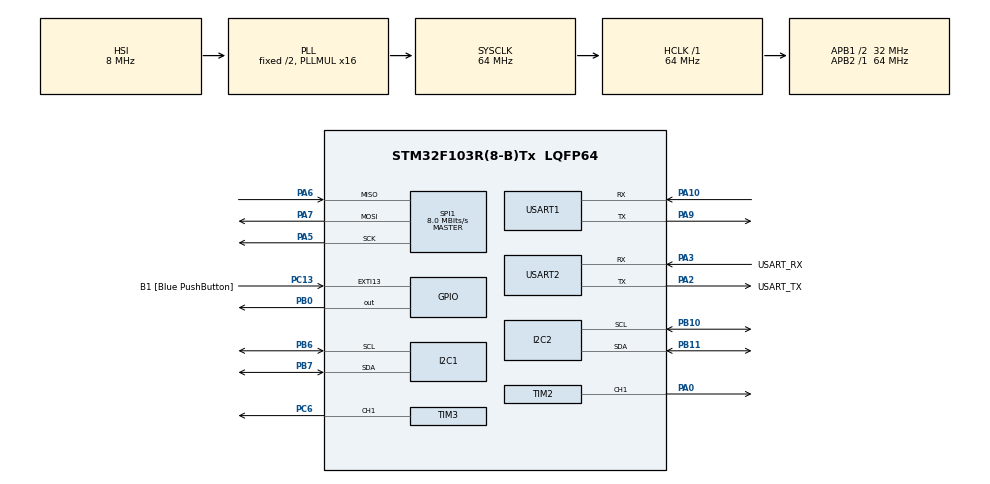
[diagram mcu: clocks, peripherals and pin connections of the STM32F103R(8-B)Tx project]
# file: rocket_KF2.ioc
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FATFS._MAX_SS=4096
FATFS._USE_LFN=1
Mcu.Family=STM32F1
Mcu.Name=STM32F103R(8-B)Tx
Mcu.Package=LQFP64
NVIC.EXTI15_10_IRQn=true\:0\:0\:false\:false\:true\:true\:true\:true
NVIC.I2C1_ER_IRQn=true\:0\:0\:false\:false\:true\:true\:true\:true
NVIC.I2C1_EV_IRQn=true\:0\:0\:false\:false\:true\:true\:true\:true
NVIC.I2C2_ER_IRQn=true\:0\:0\:false\:false\:true\:true\:true\:true
NVIC.I2C2_EV_IRQn=true\:0\:0\:false\:false\:true\:true\:true\:true
NVIC.PriorityGroup=NVIC_PRIORITYGROUP_4
NVIC.TIM2_IRQn=true\:0\:0\:false\:false\:true\:true\:true\:true
NVIC.TIM3_IRQn=true\:0\:0\:false\:false\:true\:true\:true\:true
NVIC.USART1_IRQn=true\:0\:0\:false\:false\:true\:true\:true\:true
NVIC.USART2_IRQn=true\:0\:0\:false\:false\:true\:true\:true\:true
PA0-WKUP.Signal=S_TIM2_CH1_ETR
PA10.Mode=Asynchronous
PA10.Signal=USART1_RX
PA13.GPIO_Label=TMS
PA13.Mode=Serial_Wire
PA13.Signal=SYS_JTMS-SWDIO
PA14.GPIO_Label=TCK
PA14.Mode=Serial_Wire
PA14.Signal=SYS_JTCK-SWCLK
PA2.GPIO_Label=USART_TX
PA2.GPIO_Mode=GPIO_MODE_AF_PP
PA2.GPIO_PuPd=GPIO_NOPULL
PA2.GPIO_Speed=GPIO_SPEED_FREQ_LOW
PA2.Mode=Asynchronous
PA2.Signal=USART2_TX
PA3.GPIO_Label=USART_RX
PA3.GPIO_Mode=GPIO_MODE_AF_PP
PA3.GPIO_PuPd=GPIO_NOPULL
PA3.GPIO_Speed=GPIO_SPEED_FREQ_LOW
PA3.Mode=Asynchronous
PA3.Signal=USART2_RX
PA5.Mode=Full_Duplex_Master
PA5.Signal=SPI1_SCK
PA6.Mode=Full_Duplex_Master
PA6.Signal=SPI1_MISO
PA7.Mode=Full_Duplex_Master
PA7.Signal=SPI1_MOSI
PA9.Mode=Asynchronous
PA9.Signal=USART1_TX
PB0.Signal=GPIO_Output
PB10.Mode=I2C
PB10.Signal=I2C2_SCL
PB11.Mode=I2C
PB11.Signal=I2C2_SDA
PB3.GPIO_Label=SWO
PB3.Signal=SYS_JTDO-TRACESWO
PB6.Mode=I2C
PB6.Signal=I2C1_SCL
PB7.Mode=I2C
PB7.Signal=I2C1_SDA
PC13-TAMPER-RTC.GPIO_Label=B1 [Blue PushButton]
PC13-TAMPER-RTC.GPIO_PuPd=GPIO_NOPULL
PC13-TAMPER-RTC.Signal=GPXTI13
PC14-OSC32_IN.Mode=LSE-External-Oscillator
PC14-OSC32_IN.Signal=RCC_OSC32_IN
PC15-OSC32_OUT.Mode=LSE-External-Oscillator
PC15-OSC32_OUT.Signal=RCC_OSC32_OUT
PC6.Signal=S_TIM3_CH1
PD0-OSC_IN.Mode=HSE-External-Clock-Source
PD0-OSC_IN.Signal=RCC_OSC_IN
PD1-OSC_OUT.Mode=HSE-External-Clock-Source
PD1-OSC_OUT.Signal=RCC_OSC_OUT
ProjectManager.HeapSize=0x200
ProjectManager.StackSize=0x400
ProjectManager.TargetToolchain=STM32CubeIDE
RCC.AHBFreq_Value=64000000
RCC.APB1CLKDivider=RCC_HCLK_DIV2
RCC.APB1Freq_Value=32000000
RCC.APB1TimFreq_Value=64000000
RCC.APB2Freq_Value=64000000
RCC.APB2TimFreq_Value=64000000
RCC.HCLKFreq_Value=64000000
RCC.PLLMUL=RCC_PLL_MUL16
RCC.RTCClockSelection=RCC_RTCCLKSOURCE_LSE
RCC.SYSCLKFreq_VALUE=64000000
RCC.SYSCLKSource=RCC_SYSCLKSOURCE_PLLCLK
RCC.USBFreq_Value=64000000
SH.S_TIM2_CH1_ETR.0=TIM2_CH1,PWM Generation1 CH1
SH.S_TIM3_CH1.0=TIM3_CH1,Output Compare1 CH1
SPI1.BaudRatePrescaler=SPI_BAUDRATEPRESCALER_8
SPI1.CalculateBaudRate=8.0 MBits/s
SPI1.Direction=SPI_DIRECTION_2LINES
SPI1.Mode=SPI_MODE_MASTER
SPI1.VirtualType=VM_MASTER
TIM2.Channel-PWM\ Generation1\ CH1=TIM_CHANNEL_1
TIM2.Period=1000 - 1
TIM2.Prescaler=1280 - 1
TIM3.Channel-Output\ Compare1\ CH1=TIM_CHANNEL_1
TIM3.Period=10000 - 1
TIM3.Prescaler=6400 - 1
USART1.VirtualMode=VM_ASYNC
USART2.VirtualMode=VM_ASYNC
VP_FATFS_VS_Generic.Mode=User_defined
VP_TIM2_VS_ClockSourceINT.Mode=Internal
VP_TIM3_VS_ClockSourceINT.Mode=Internal
board=NUCLEO-F103RB

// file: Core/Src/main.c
/* USER CODE BEGIN Header */
/**
 ******************************************************************************
 * @file           : main.c
 * @brief          : Main program body
 ******************************************************************************
 * @attention
 *
 * Copyright (c) 2023 STMicroelectronics.
 * All rights reserved.
 *
 * This software is licensed under terms that can be found in the LICENSE file
 * in the root directory of this software component.
 * If no LICENSE file comes with this software, it is provided AS-IS.
 *
 ******************************************************************************
 */
/* USER CODE END Header */
#include "main.h"
#include "fatfs.h"

/* USER CODE BEGIN Includes */
#include "stm32f1xx.h"
#include "BMP180.h"
#include "stdio.h"
#include "MPU6050.h"
#include "math.h"
#include "stdint.h"
#include "fatfs_sd.h"
/* USER CODE END Includes */

/* USER CODE BEGIN PD */
#define RAD_TO_DEG 57.29578
#define DEG_TO_RAD 0.017453
#define ALPHA 0.96                          // Complementary Filter alpha value
#define dt 0.00069                       	// check while loop time
#define desiredAngle 45.0
#define beta 0.006981
#define gravityMagnitude 9.81
//#define beta 0.1
/* USER CODE END PD */

I2C_HandleTypeDef hi2c1;
I2C_HandleTypeDef hi2c2;

SPI_HandleTypeDef hspi1;

TIM_HandleTypeDef htim2;
TIM_HandleTypeDef htim3;

UART_HandleTypeDef huart1;
UART_HandleTypeDef huart2;

/* USER CODE BEGIN PV */
float temp, press, altitude;
int second = 0;
float firstAltitude;
int Parachute = 0;
int start = 0;    				//Parachute states
float finalAltitude;

float gyroAngleX = 0.0f, gyroAngleY = 0.0f; 	// pitch(X) and roll(Y) angle (Euler Angle) by gyroscope
float accelAngleX = 0.0f, accelAngleY = 0.0f; 	// pitch(X) and roll(Y) angle (Euler Angle) by AccelerateScope
float compAngleX = 0.0f, compAngleY = 0.0f; 	// Complementary Filter result angle        URL https://blog.naver.com/intheglass14/222777512235 https://yjhtpi.tistory.com/352
float rocketVector[3] = { 0.0f };              // rocket vector(attitude) init
float vectorG[3] = {0.0f, 0.0f, -1.0f};
float z_Unitvector[3] = { 0.0f, 0.0f, 1.0f };   // Z-axis vector
float rocketAngle = 0.0f;    					// result of dot product Rocket Vector with Z-axis

uint32_t startTick, endTick, elapsedTicks, costTime_us; //just check while loop time
int iter = 0;
float prev_state[3]; 					// result of dot product Rocket Vector with Z-axis
float a, b, c = 0.0f;                         	// just acos variables
float SEq_1 = 1.0f, SEq_2 = 0.0f, SEq_3 = 0.0f, SEq_4 = 0.0f; // estimated orientation quaternion elements with initial conditions
float roll, pitch, yaw;

//float realAccelX, realAccelY, realAccelZ;
//float gravityComponentAlongRocket;
//float gravityComponentOnX, gravityComponentOnY, gravityComponentOnZ;

/* USER CODE END PV */

void SystemClock_Config(void);
static void MX_GPIO_Init(void);
static void MX_USART2_UART_Init(void);
static void MX_I2C1_Init(void);
static void MX_I2C2_Init(void);
static void MX_SPI1_Init(void);
static void MX_TIM2_Init(void);
static void MX_USART1_UART_Init(void);
static void MX_TIM3_Init(void);
/* USER CODE BEGIN PFP */
void SysTick_Init(void);               // systick  = like tic toc func in matlab
void SysTick_Delay_us(uint32_t us);
void updateQuaternion(float w_x,float w_y,float w_z,float a_x,float a_y,float a_z);
void setInitialQuaternion(float yaw, float pitch, float roll);
/* USER CODE END PFP */

/* USER CODE BEGIN 0 */

// to use printf
#ifdef __GNUC__
/* With GCC/RAISONANCE, small printf (option LD Linker->Libraries->Small printf
 set to 'Yes') calls __io_putchar() */
#define PUTCHAR_PROTOTYPE int __io_putchar(int ch)
#else
#define PUTCHAR_PROTOTYPE int fputc(int ch, FILE *f)
#endif /* __GNUC__ */

PUTCHAR_PROTOTYPE {
	/* Place your implementation of fputc here */
	/* e.g. write a character to the EVAL_COM1 and Loop until the end of transmission */
	HAL_UART_Transmit(&huart2, (uint8_t*) &ch, 1, 0xFFFF);
	return ch;
}
// use printf

// sdcard part
FATFS fs; // file system
FIL fil;  // File
FILINFO fno;
FRESULT fresult; // result
UINT br, bw;     // File read/write count

/**** capacity related *****/
FATFS *pfs;
DWORD fre_clust;
uint32_t total, free_space;
char str[16]; // Enough to hold all numbers up to 32-bit int
// sdcard part

// mpu6050
RawData_Def myAccelRaw, myGyroRaw;
ScaledData_Def myAccelScaled, myGyroScaled,accAverage;
typedef struct{
	float w, x, y ,z;
}Quaternion;
Quaternion q = {1,0,0,0};

int timeout_start = 0;
/* USER CODE END 0 */

int main(void)
{
  /* USER CODE BEGIN 1 */
	MPU_ConfigTypeDef myMpuConfig;
  /* USER CODE END 1 */

  /* MCU Configuration--------------------------------------------------------*/

  /* Reset of all peripherals, Initializes the Flash interface and the Systick. */
  HAL_Init();

  /* USER CODE BEGIN Init */
  SysTick_Init();
  /* USER CODE END Init */

  /* Configure the system clock */
  SystemClock_Config();

  /* Initialize all configured peripherals */
  MX_GPIO_Init();
  MX_USART2_UART_Init();
  MX_I2C1_Init();
  MX_I2C2_Init();
  MX_SPI1_Init();
  MX_TIM2_Init();
  MX_FATFS_Init();
  MX_USART1_UART_Init();
  MX_TIM3_Init();
  /* USER CODE BEGIN 2 */
	initialBMP180();
	MPU6050_Init(&hi2c1);
	myMpuConfig.Accel_Full_Scale = AFS_SEL_16g; 		// full scale setting
	myMpuConfig.ClockSource = Internal_8MHz;
	myMpuConfig.CONFIG_DLPF = DLPF_184A_188G_Hz;
	myMpuConfig.Gyro_Full_Scale = FS_SEL_500;
	myMpuConfig.Sleep_Mode_Bit = 0;
	MPU6050_Config(&myMpuConfig);
	HAL_TIM_Base_Start(&htim2);
	HAL_TIM_PWM_Start(&htim2, TIM_CHANNEL_1);
	HAL_TIM_Base_Start_IT(&htim3);

	fresult = f_mount(&fs, "/", 1);
	/* Check free space */
	f_getfree("", &fre_clust, &pfs);
	total = (uint32_t) ((pfs->n_fatent - 2) * pfs->csize * 0.5);
	free_space = (uint32_t) (fre_clust * pfs->csize * 0.5);
	/* Open file to write/ create a file if it doesn't exist */
	fresult = f_open(&fil, "file1.txt", FA_OPEN_ALWAYS | FA_READ | FA_WRITE);
	/* Writing text */

  /* USER CODE END 2 */

  /* Infinite loop */
	while (1) {

		/* USER CODE BEGIN 3 */

		temp = readTrueTemp();
		press = readTruePress(0);
		altitude = readTrueAltitude(0);
		MPU6050_Get_Accel_Scale(&myAccelScaled);
		MPU6050_Get_Gyro_Scale(&myGyroScaled);

    // set init state.
		if(start==0&&myAccelScaled.z<=20.0f){
			for(int count=0;count<3;count++){
				accAverage.x=0,accAverage.y=0,accAverage.z=0;
				accAverage.x=+myAccelScaled.x;
				accAverage.y=+myAccelScaled.y;
				accAverage.z=+myAccelScaled.z;
			}
			accAverage.x=accAverage.x/3.0f;
			accAverage.y=accAverage.y/3.0f;
			accAverage.z=accAverage.z/3.0f;		//moving mean filter
			gyroAngleX = atan2f(accAverage.y,		// RAD pitch and roll by acc scope
					sqrtf(accAverage.x * accAverage.x
							+ accAverage.z * accAverage.z));
			gyroAngleY = atan2f(-accAverage.x, 	//-myacc.x to myacc.x
					sqrtf(accAverage.y * accAverage.y
							+ accAverage.z * accAverage.z));
			prev_state[0] = gyroAngleX;
			prev_state[1] = gyroAngleY;
			prev_state[2]=0.0f;
			setInitialQuaternion(prev_state[2], prev_state[1],prev_state[0]);
			firstAltitude = altitude;			// update initial altitude

//			printf("%.2f\r\n",myAccelScaled.z);
//			HAL_Delay(10);
			continue;		//start trigger
		}
		else{
			timeout_start = 1;
			start=1;
		}
		//Rocket launched
//		startTick = SysTick->VAL;
		//kalman filter Part

		updateQuaternion(myGyroScaled.x,myGyroScaled.y,myGyroScaled.z,myAccelScaled.x,myAccelScaled.y,myAccelScaled.z);
//		float SEq_1 = 1.0f, SEq_2 = 0.0f, SEq_3 = 0.0f, SEq_4 = 0.0f;
		rocketVector[0] =  2.0*(SEq_2*SEq_4 - SEq_1*SEq_3); // x축
		rocketVector[1] = 2.0 * (SEq_1 * SEq_2 + SEq_3 * SEq_4); // y component
		rocketVector[2] = 1.0 - 2.0 * (SEq_2 * SEq_2 + SEq_3 * SEq_3); // z component

		a = rocketVector[0] * z_Unitvector[0]
											+ rocketVector[1] * z_Unitvector[1]
																			  + rocketVector[2] * z_Unitvector[2];
		b = sqrt(rocketVector[0] * rocketVector[0]
												  + rocketVector[1] * rocketVector[1]
																					 + rocketVector[2] * rocketVector[2]);
		c = sqrt(z_Unitvector[0] * z_Unitvector[0]
												+ z_Unitvector[1] * z_Unitvector[1]
																				 + z_Unitvector[2] * z_Unitvector[2]);

		rocketAngle = acos(a / (b * c)) * RAD_TO_DEG;                            // inner product(dot product) Rocket vector with Z unit vector

		//Transfer Quaternion to Euler Angle
		roll = atan2f(2.0f * (SEq_1 * SEq_2 + SEq_3 * SEq_4), 1.0f - 2.0f * (SEq_2 * SEq_2 + SEq_3 * SEq_3));
		pitch = asinf(2.0f * (SEq_1 * SEq_3 - SEq_4 * SEq_2));
		yaw = atan2f(2.0f * (SEq_1 * SEq_4 + SEq_2 * SEq_3), 1.0f - 2.0f * (SEq_3 * SEq_3 + SEq_4 * SEq_4));

		// 결과 출력
//		printf("Roll: %.2f degrees\r\n", roll * RAD_TO_DEG);
//		printf("Pitch: %.2f degrees\r\n", pitch * RAD_TO_DEG);
//		printf("Yaw: %.2f degrees\r\n", yaw * RAD_TO_DEG);
//		printf("%f",altitude-firstAltitude);
//		printf(" is real \r\n");

		if (Parachute==0){
			if (altitude-firstAltitude>=390){
				Parachute = 1;
				printf("Altitude\r\n");
				__HAL_TIM_SetCompare(&htim2, TIM_CHANNEL_1, 125);					// deploy parachute
				continue;
			}
			else if (rocketAngle>desiredAngle){
				Parachute = 1;
				printf("desiredAngle30\r\n");
				__HAL_TIM_SetCompare(&htim2, TIM_CHANNEL_1, 125);					// deploy parachute
				continue;
			}
//			else if (second>10){
//				Parachute = 1;
//				printf("Timeout!\r\n");
//
//				continue;
//			}
		}

		finalAltitude = altitude-firstAltitude;

		// sdcard part
		char buffer[100]; // Buffer to hold string
		//timeinfo = *localtime(&rawtime);
		sprintf(buffer,
				"%.2f, %.2f ,%.2f, %.2f, %.2f, %.2f, %.2f, %.2f, %.2f, %.2f\r\n",
				finalAltitude, myGyroScaled.x, myGyroScaled.y, myGyroScaled.z,
				myAccelScaled.x, myAccelScaled.y, myAccelScaled.z,roll,pitch,yaw);	//Altitude GyroXYZ AccelXYZ roll pitch yaw time
		if (fresult == FR_OK) {
			fresult = f_write(&fil, buffer, strlen(buffer), &bw); // Write the string to file
			f_sync(&fil);                    // Ensure data is written and saved
		}

//		if (sqrt(myGyroScaled.x^2+myGyroScaled.y^2+myGyroScaled.z^2)){
//
//		}
//		endTick = SysTick->VAL;             	// tic (check loop time)
////		// SysTick은 다운 카운터이므로 startTick > endTick
//		elapsedTicks = startTick > endTick ? startTick - endTick : startTick + (0xFFFFFF - endTick);
//		costTime_us = (elapsedTicks * 8) / (64000000 / 100000);

//		printf("Time taken: %lu microseconds\n", costTime_us);
//		HAL_Delay(100);

		// sdcard part
	}
	// sdcard part
	if (fresult == FR_OK) {
		fresult = f_close(&fil);
	}
	// sdcard part
  /* USER CODE END 3 */
}

void SystemClock_Config(void)
{
  RCC_OscInitTypeDef RCC_OscInitStruct = {0};
  RCC_ClkInitTypeDef RCC_ClkInitStruct = {0};

  /** Initializes the RCC Oscillators according to the specified parameters
  * in the RCC_OscInitTypeDef structure.
  */
  RCC_OscInitStruct.OscillatorType = RCC_OSCILLATORTYPE_HSI;
  RCC_OscInitStruct.HSIState = RCC_HSI_ON;
  RCC_OscInitStruct.HSICalibrationValue = RCC_HSICALIBRATION_DEFAULT;
  RCC_OscInitStruct.PLL.PLLState = RCC_PLL_ON;
  RCC_OscInitStruct.PLL.PLLSource = RCC_PLLSOURCE_HSI_DIV2;
  RCC_OscInitStruct.PLL.PLLMUL = RCC_PLL_MUL16;
  if (HAL_RCC_OscConfig(&RCC_OscInitStruct) != HAL_OK)
  {
    Error_Handler();
  }

  /** Initializes the CPU, AHB and APB buses clocks
  */
  RCC_ClkInitStruct.ClockType = RCC_CLOCKTYPE_HCLK|RCC_CLOCKTYPE_SYSCLK
                              |RCC_CLOCKTYPE_PCLK1|RCC_CLOCKTYPE_PCLK2;
  RCC_ClkInitStruct.SYSCLKSource = RCC_SYSCLKSOURCE_PLLCLK;
  RCC_ClkInitStruct.AHBCLKDivider = RCC_SYSCLK_DIV1;
  RCC_ClkInitStruct.APB1CLKDivider = RCC_HCLK_DIV2;
  RCC_ClkInitStruct.APB2CLKDivider = RCC_HCLK_DIV1;

  if (HAL_RCC_ClockConfig(&RCC_ClkInitStruct, FLASH_LATENCY_2) != HAL_OK)
  {
    Error_Handler();
  }
}

static void MX_I2C1_Init(void)
{

  hi2c1.Instance = I2C1;
  hi2c1.Init.ClockSpeed = 100000;
  hi2c1.Init.DutyCycle = I2C_DUTYCYCLE_2;
  hi2c1.Init.OwnAddress1 = 0;
  hi2c1.Init.AddressingMode = I2C_ADDRESSINGMODE_7BIT;
  hi2c1.Init.DualAddressMode = I2C_DUALADDRESS_DISABLE;
  hi2c1.Init.OwnAddress2 = 0;
  hi2c1.Init.GeneralCallMode = I2C_GENERALCALL_DISABLE;
  hi2c1.Init.NoStretchMode = I2C_NOSTRETCH_DISABLE;
  if (HAL_I2C_Init(&hi2c1) != HAL_OK)
  {
    Error_Handler();
  }

}

static void MX_I2C2_Init(void)
{

  hi2c2.Instance = I2C2;
  hi2c2.Init.ClockSpeed = 100000;
  hi2c2.Init.DutyCycle = I2C_DUTYCYCLE_2;
  hi2c2.Init.OwnAddress1 = 0;
  hi2c2.Init.AddressingMode = I2C_ADDRESSINGMODE_7BIT;
  hi2c2.Init.DualAddressMode = I2C_DUALADDRESS_DISABLE;
  hi2c2.Init.OwnAddress2 = 0;
  hi2c2.Init.GeneralCallMode = I2C_GENERALCALL_DISABLE;
  hi2c2.Init.NoStretchMode = I2C_NOSTRETCH_DISABLE;
  if (HAL_I2C_Init(&hi2c2) != HAL_OK)
  {
    Error_Handler();
  }

}

static void MX_SPI1_Init(void)
{

  /* SPI1 parameter configuration*/
  hspi1.Instance = SPI1;
  hspi1.Init.Mode = SPI_MODE_MASTER;
  hspi1.Init.Direction = SPI_DIRECTION_2LINES;
  hspi1.Init.DataSize = SPI_DATASIZE_8BIT;
  hspi1.Init.CLKPolarity = SPI_POLARITY_LOW;
  hspi1.Init.CLKPhase = SPI_PHASE_1EDGE;
  hspi1.Init.NSS = SPI_NSS_SOFT;
  hspi1.Init.BaudRatePrescaler = SPI_BAUDRATEPRESCALER_8;
  hspi1.Init.FirstBit = SPI_FIRSTBIT_MSB;
  hspi1.Init.TIMode = SPI_TIMODE_DISABLE;
  hspi1.Init.CRCCalculation = SPI_CRCCALCULATION_DISABLE;
  hspi1.Init.CRCPolynomial = 10;
  if (HAL_SPI_Init(&hspi1) != HAL_OK)
  {
    Error_Handler();
  }

}

static void MX_TIM2_Init(void)
{

  TIM_ClockConfigTypeDef sClockSourceConfig = {0};
  TIM_MasterConfigTypeDef sMasterConfig = {0};
  TIM_OC_InitTypeDef sConfigOC = {0};

  htim2.Instance = TIM2;
  htim2.Init.Prescaler = 1280 - 1;
  htim2.Init.CounterMode = TIM_COUNTERMODE_UP;
  htim2.Init.Period = 1000 - 1;
  htim2.Init.ClockDivision = TIM_CLOCKDIVISION_DIV1;
  htim2.Init.AutoReloadPreload = TIM_AUTORELOAD_PRELOAD_DISABLE;
  if (HAL_TIM_Base_Init(&htim2) != HAL_OK)
  {
    Error_Handler();
  }
  sClockSourceConfig.ClockSource = TIM_CLOCKSOURCE_INTERNAL;
  if (HAL_TIM_ConfigClockSource(&htim2, &sClockSourceConfig) != HAL_OK)
  {
    Error_Handler();
  }
  if (HAL_TIM_PWM_Init(&htim2) != HAL_OK)
  {
    Error_Handler();
  }
  sMasterConfig.MasterOutputTrigger = TIM_TRGO_RESET;
  sMasterConfig.MasterSlaveMode = TIM_MASTERSLAVEMODE_DISABLE;
  if (HAL_TIMEx_MasterConfigSynchronization(&htim2, &sMasterConfig) != HAL_OK)
  {
    Error_Handler();
  }
  sConfigOC.OCMode = TIM_OCMODE_PWM1;
  sConfigOC.Pulse = 0;
  sConfigOC.OCPolarity = TIM_OCPOLARITY_HIGH;
  sConfigOC.OCFastMode = TIM_OCFAST_DISABLE;
  if (HAL_TIM_PWM_ConfigChannel(&htim2, &sConfigOC, TIM_CHANNEL_1) != HAL_OK)
  {
    Error_Handler();
  }
  HAL_TIM_MspPostInit(&htim2);

}

static void MX_TIM3_Init(void)
{

  TIM_ClockConfigTypeDef sClockSourceConfig = {0};
  TIM_MasterConfigTypeDef sMasterConfig = {0};
  TIM_OC_InitTypeDef sConfigOC = {0};

  htim3.Instance = TIM3;
  htim3.Init.Prescaler = 6400 - 1;
  htim3.Init.CounterMode = TIM_COUNTERMODE_UP;
  htim3.Init.Period = 10000 - 1;
  htim3.Init.ClockDivision = TIM_CLOCKDIVISION_DIV1;
  htim3.Init.AutoReloadPreload = TIM_AUTORELOAD_PRELOAD_DISABLE;
  if (HAL_TIM_Base_Init(&htim3) != HAL_OK)
  {
    Error_Handler();
  }
  sClockSourceConfig.ClockSource = TIM_CLOCKSOURCE_INTERNAL;
  if (HAL_TIM_ConfigClockSource(&htim3, &sClockSourceConfig) != HAL_OK)
  {
    Error_Handler();
  }
  if (HAL_TIM_OC_Init(&htim3) != HAL_OK)
  {
    Error_Handler();
  }
  sMasterConfig.MasterOutputTrigger = TIM_TRGO_RESET;
  sMasterConfig.MasterSlaveMode = TIM_MASTERSLAVEMODE_DISABLE;
  if (HAL_TIMEx_MasterConfigSynchronization(&htim3, &sMasterConfig) != HAL_OK)
  {
    Error_Handler();
  }
  sConfigOC.OCMode = TIM_OCMODE_TIMING;
  sConfigOC.Pulse = 0;
  sConfigOC.OCPolarity = TIM_OCPOLARITY_HIGH;
  sConfigOC.OCFastMode = TIM_OCFAST_DISABLE;
  if (HAL_TIM_OC_ConfigChannel(&htim3, &sConfigOC, TIM_CHANNEL_1) != HAL_OK)
  {
    Error_Handler();
  }
  HAL_TIM_MspPostInit(&htim3);

}

static void MX_USART1_UART_Init(void)
{

  huart1.Instance = USART1;
  huart1.Init.BaudRate = 115200;
  huart1.Init.WordLength = UART_WORDLENGTH_8B;
  huart1.Init.StopBits = UART_STOPBITS_1;
  huart1.Init.Parity = UART_PARITY_NONE;
  huart1.Init.Mode = UART_MODE_TX_RX;
  huart1.Init.HwFlowCtl = UART_HWCONTROL_NONE;
  huart1.Init.OverSampling = UART_OVERSAMPLING_16;
  if (HAL_UART_Init(&huart1) != HAL_OK)
  {
    Error_Handler();
  }

}

static void MX_USART2_UART_Init(void)
{

  huart2.Instance = USART2;
  huart2.Init.BaudRate = 115200;
  huart2.Init.WordLength = UART_WORDLENGTH_8B;
  huart2.Init.StopBits = UART_STOPBITS_1;
  huart2.Init.Parity = UART_PARITY_NONE;
  huart2.Init.Mode = UART_MODE_TX_RX;
  huart2.Init.HwFlowCtl = UART_HWCONTROL_NONE;
  huart2.Init.OverSampling = UART_OVERSAMPLING_16;
  if (HAL_UART_Init(&huart2) != HAL_OK)
  {
    Error_Handler();
  }

}

static void MX_GPIO_Init(void)
{
  GPIO_InitTypeDef GPIO_InitStruct = {0};

  /* GPIO Ports Clock Enable */
  __HAL_RCC_GPIOC_CLK_ENABLE();
  __HAL_RCC_GPIOD_CLK_ENABLE();
  __HAL_RCC_GPIOA_CLK_ENABLE();
  __HAL_RCC_GPIOB_CLK_ENABLE();

  /*Configure GPIO pin Output Level */
  HAL_GPIO_WritePin(GPIOB, GPIO_PIN_0, GPIO_PIN_RESET);

  /*Configure GPIO pin : B1_Pin */
  GPIO_InitStruct.Pin = B1_Pin;
  GPIO_InitStruct.Mode = GPIO_MODE_IT_RISING;
  GPIO_InitStruct.Pull = GPIO_NOPULL;
  HAL_GPIO_Init(B1_GPIO_Port, &GPIO_InitStruct);

  /*Configure GPIO pin : PB0 */
  GPIO_InitStruct.Pin = GPIO_PIN_0;
  GPIO_InitStruct.Mode = GPIO_MODE_OUTPUT_PP;
  GPIO_InitStruct.Pull = GPIO_NOPULL;
  GPIO_InitStruct.Speed = GPIO_SPEED_FREQ_LOW;
  HAL_GPIO_Init(GPIOB, &GPIO_InitStruct);

  /* EXTI interrupt init*/
  HAL_NVIC_SetPriority(EXTI15_10_IRQn, 0, 0);
  HAL_NVIC_EnableIRQ(EXTI15_10_IRQn);

}

/* USER CODE BEGIN 4 */
void HAL_TIM_PeriodElapsedCallback(TIM_HandleTypeDef *htim) // time out private function
{
   if(timeout_start == 1)
   {
      if (htim->Instance == TIM3) {
         second++;
         if (second == 11) {
//            printf("timeout ok\r\n");
            __HAL_TIM_SetCompare(&htim2, TIM_CHANNEL_1, 125);					// deploy parachute
            second = 0;
         }
      }
   }
}

void SysTick_Init(void)                      // tic toc function - once of while
{
	SysTick->LOAD = 0xFFFFFF;                   // set max value
	SysTick->VAL = 0;                           // init present count to 0
	SysTick->CTRL = SysTick_CTRL_CLKSOURCE_Msk |
	SysTick_CTRL_ENABLE_Msk;    // timer start using CPU Clock
}

void SysTick_Delay_us(uint32_t us)            // tic toc function
{
	SysTick->LOAD = us * (64000000 / 8 / 1000000) - 1;
	SysTick->VAL = 0;
	while (!(SysTick->CTRL & SysTick_CTRL_COUNTFLAG_Msk))
		;
}
void updateQuaternion(float w_x,float w_y,float w_z,float a_x,float a_y,float a_z){
	//Local Variables
	float norm;
	float SEqDot_omega_1, SEqDot_omega_2, SEqDot_omega_3, SEqDot_omega_4; // quaternion derrivative from gyroscopes elements
	float f_1, f_2, f_3; // objective function elements
	float J_11or24, J_12or23, J_13or22, J_14or21, J_32, J_33; // objective function Jacobian elements
	float SEqHatDot_1, SEqHatDot_2, SEqHatDot_3, SEqHatDot_4; // estimated direction of the gyroscope error
	// Axulirary variables to avoid reapeated calcualtions
	float halfSEq_1 = 0.5f * SEq_1;
	float halfSEq_2 = 0.5f * SEq_2;
	float halfSEq_3 = 0.5f * SEq_3;
	float halfSEq_4 = 0.5f * SEq_4;
	float twoSEq_1 = 2.0f * SEq_1;
	float twoSEq_2 = 2.0f * SEq_2;
	float twoSEq_3 = 2.0f * SEq_3;
	// Normalise the accelerometer measurement
	norm = sqrt(a_x * a_x + a_y * a_y + a_z * a_z);
	a_x /= norm;
	a_y /= norm;
	a_z /= norm;
	// Compute the objective function and Jacobian
	f_1 = twoSEq_2 * SEq_4 - twoSEq_1 * SEq_3 - a_x;
	f_2 = twoSEq_1 * SEq_2 + twoSEq_3 * SEq_4 - a_y;
	f_3 = 1.0f - twoSEq_2 * SEq_2 - twoSEq_3 * SEq_3 - a_z;
	J_11or24 = twoSEq_3; // J_11 negated in matrix multiplication
	J_12or23 = 2.0f * SEq_4;
	J_13or22 = twoSEq_1; // J_12 negated in matrix multiplication
	J_14or21 = twoSEq_2;
	J_32 = 2.0f * J_14or21; // negated in matrix multiplication
	J_33 = 2.0f * J_11or24; // negated in matrix multiplication
	// Compute the gradient (matrix multiplication)
	SEqHatDot_1 = J_14or21 * f_2 - J_11or24 * f_1;
	SEqHatDot_2 = J_12or23 * f_1 + J_13or22 * f_2 - J_32 * f_3;
	SEqHatDot_3 = J_12or23 * f_2 - J_33 * f_3 - J_13or22 * f_1;
	SEqHatDot_4 = J_14or21 * f_1 + J_11or24 * f_2;
	// Normalise the gradient
	norm = sqrt(SEqHatDot_1 * SEqHatDot_1 + SEqHatDot_2 * SEqHatDot_2 + SEqHatDot_3 * SEqHatDot_3 + SEqHatDot_4 * SEqHatDot_4);
	SEqHatDot_1 /= norm;
	SEqHatDot_2 /= norm;
	SEqHatDot_3 /= norm;
	SEqHatDot_4 /= norm;
	// Compute the quaternion derrivative measured by gyroscopes
	SEqDot_omega_1 = -halfSEq_2 * w_x - halfSEq_3 * w_y - halfSEq_4 * w_z;
	SEqDot_omega_2 = halfSEq_1 * w_x + halfSEq_3 * w_z - halfSEq_4 * w_y;
	SEqDot_omega_3 = halfSEq_1 * w_y - halfSEq_2 * w_z + halfSEq_4 * w_x;
	SEqDot_omega_4 = halfSEq_1 * w_z + halfSEq_2 * w_y - halfSEq_3 * w_x;
	// Compute then integrate the estimated quaternion derrivative
	SEq_1 += (SEqDot_omega_1 - (beta * SEqHatDot_1)) * dt;
	SEq_2 += (SEqDot_omega_2 - (beta * SEqHatDot_2)) * dt;
	SEq_3 += (SEqDot_omega_3 - (beta * SEqHatDot_3)) * dt;
	SEq_4 += (SEqDot_omega_4 - (beta * SEqHatDot_4)) * dt;
	// Normalise quaternion
	norm = sqrt(SEq_1 * SEq_1 + SEq_2 * SEq_2 + SEq_3 * SEq_3 + SEq_4 * SEq_4);
	SEq_1 /= norm;
	SEq_2 /= norm;
	SEq_3 /= norm;
	SEq_4 /= norm;
}

// Yaw, Pitch, Roll 값을 기반으로 쿼터니온을 설정합니다.
void setInitialQuaternion(float yaw, float pitch, float roll) { //yaw_z, pitch_y, roll_x
    float cy = cos(yaw * 0.5);
    float sy = sin(yaw * 0.5);
    float cp = cos(pitch * 0.5);
    float sp = sin(pitch * 0.5);
    float cr = cos(roll * 0.5);
    float sr = sin(roll * 0.5);

    SEq_1 = cy * cp * cr + sy * sp * sr; // q0
    SEq_2 = cy * cp * sr - sy * sp * cr; // q1
    SEq_3 = sy * cp * sr + cy * sp * cr; // q2
    SEq_4 = sy * cp * cr - cy * sp * sr; // q3
}
/* USER CODE END 4 */

void Error_Handler(void)
{
	__disable_irq();
	while (1) {
	}
}
